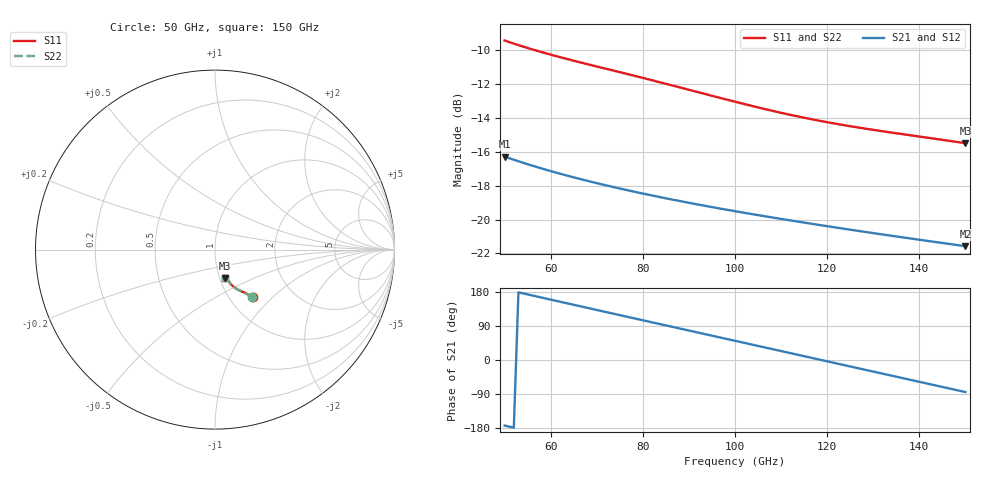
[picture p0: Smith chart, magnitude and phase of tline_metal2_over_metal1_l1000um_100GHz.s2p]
#  GHZ S DB R 50
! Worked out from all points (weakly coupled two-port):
!   101 points, 50 GHz to 150 GHz, reference 50 ohm
!   highest |S21| = -16.29 dB at 50 GHz (marker M1); lowest = -21.6 dB at 150 GHz (marker M2)
!   lowest |S11| = -15.5 dB at 150 GHz (marker M3), VSWR 1.40, Z = 53.1 - j17.3 ohm
!   |S11| at or under -10 dB: 56.38 GHz to end of sweep
!   |S22| runs from -15.5 to -9.5 dB; largest |S21 - S12| = 1.1e-13
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50  -9.44 -51.4  -16.29 -173.0  -16.29 -173.0  -9.47 -51.7
54  -9.80 -52.4  -16.65 175.8  -16.65 175.8  -9.83 -52.7
58  -10.13 -53.3  -16.99 164.8  -16.99 164.8  -10.16 -53.7
63  -10.50 -54.6  -17.37 151.1  -17.37 151.1  -10.54 -55.0
67  -10.77 -55.7  -17.65 140.2  -17.65 140.2  -10.82 -56.1
71  -11.04 -56.9  -17.92 129.3  -17.92 129.3  -11.09 -57.2
75  -11.31 -58.1  -18.17 118.4  -18.17 118.4  -11.36 -58.4
79  -11.58 -59.2  -18.41 107.6  -18.41 107.6  -11.64 -59.5
84  -11.93 -60.7  -18.69 94.0  -18.69 94.0  -11.99 -60.9
88  -12.21 -61.7  -18.91 83.1  -18.91 83.1  -12.27 -62.0
92  -12.49 -62.7  -19.12 72.3  -19.12 72.3  -12.56 -62.9
100  -13.05 -64.3  -19.51 50.7  -19.51 50.7  -13.12 -64.5
105  -13.39 -65.1  -19.74 37.1  -19.74 37.1  -13.46 -65.2
109  -13.65 -65.6  -19.92 26.3  -19.92 26.3  -13.72 -65.7
113  -13.89 -66.1  -20.09 15.5  -20.09 15.5  -13.96 -66.1
117  -14.11 -66.4  -20.26 4.6  -20.26 4.6  -14.18 -66.4
121  -14.31 -66.8  -20.43 -6.2  -20.43 -6.2  -14.38 -66.7
125  -14.50 -67.1  -20.60 -17.0  -20.60 -17.0  -14.56 -67.0
129  -14.67 -67.5  -20.76 -27.8  -20.76 -27.8  -14.73 -67.3
134  -14.87 -68.1  -20.96 -41.3  -20.96 -41.3  -14.93 -67.7
142  -15.18 -69.1  -21.27 -63.0  -21.27 -63.0  -15.22 -68.6
150  -15.50 -70.2  -21.57 -84.6  -21.57 -84.6  -15.52 -69.6
